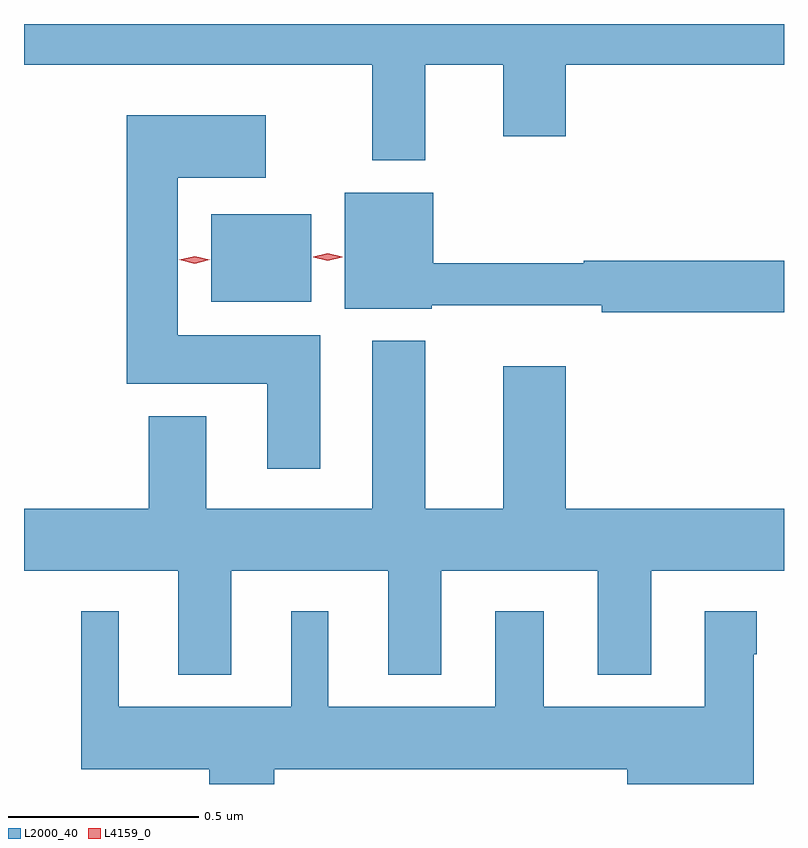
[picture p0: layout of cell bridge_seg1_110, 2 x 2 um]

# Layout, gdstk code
import gdstk
lib = gdstk.Library(unit=1e-6, precision=1e-09)
def R(c, l, rs):  # rectangles x0, y0, x1, y1
    for r in rs: c.add(gdstk.rectangle(r[:2], r[2:], *l))
def P(c, l, *ps):  # polygons
    for p in ps: c.add(gdstk.Polygon(p, *l))
L2000_40 = (2000, 40)
L4159_0 = (4159, 0)

bridge_seg1_110 = lib.new_cell('bridge_seg1_110')
R(bridge_seg1_110, L2000_40, [(356.048,581.744,356.311,581.974)])
P(bridge_seg1_110, L2000_40, [(356.611,582.368),(356.816,582.368),(356.816,582.18),(356.98,582.18),(356.98,582.368),(357.555,582.368),(357.555,582.475),(355.555,582.475),(355.555,582.368),(356.471,582.368),(356.471,582.116),(356.611,582.116)],
  [(356.335,581.656),(355.96,581.656),(355.96,582.071),(356.191,582.071),(356.191,582.235),(355.826,582.235),(355.826,581.528),(356.195,581.528),(356.195,581.304),(356.335,581.304)],
  [(357.555,581.852),(357.028,581.852),(357.028,581.845),(356.632,581.845),(356.632,582.031),(356.399,582.031),(356.399,581.726),(356.628,581.726),(356.628,581.735),(357.076,581.735),(357.076,581.716),(357.555,581.716)],
  [(356.101,581.036),(356.513,581.036),(356.513,580.763),(356.653,580.763),(356.653,581.036),(357.065,581.036),(357.065,580.763),(357.205,580.763),(357.205,581.036),(357.555,581.036),(357.555,581.2),(356.98,581.2),(356.98,581.575),(356.816,581.575),(356.816,581.2),(356.611,581.2),(356.611,581.641),(356.471,581.641),(356.471,581.2),(356.035,581.2),(356.035,581.443),(355.883,581.443),(355.883,581.2),(355.555,581.2),(355.555,581.036),(355.961,581.036),(355.961,580.763),(356.101,580.763)],
  [(356.213,580.514),(357.143,580.514),(357.143,580.475),(357.475,580.475),(357.475,580.817),(357.483,580.817),(357.483,580.93),(357.347,580.93),(357.347,580.678),(356.923,580.678),(356.923,580.93),(356.795,580.93),(356.795,580.678),(356.356,580.678),(356.356,580.93),(356.258,580.93),(356.258,580.678),(355.804,580.678),(355.804,580.93),(355.706,580.93),(355.706,580.514),(356.042,580.514),(356.042,580.475),(356.213,580.475)])
P(bridge_seg1_110, L4159_0, [(356.354,581.852),(356.316,581.861),(356.316,581.862),(356.316,581.862),(356.354,581.872),(356.393,581.862),(356.393,581.862),(356.393,581.861)],
  [(356.004,581.844),(355.963,581.854),(355.963,581.854),(355.963,581.854),(356.004,581.864),(356.044,581.854),(356.044,581.854),(356.044,581.854)])

lib.write_gds('bridge_seg1_110.gds')
